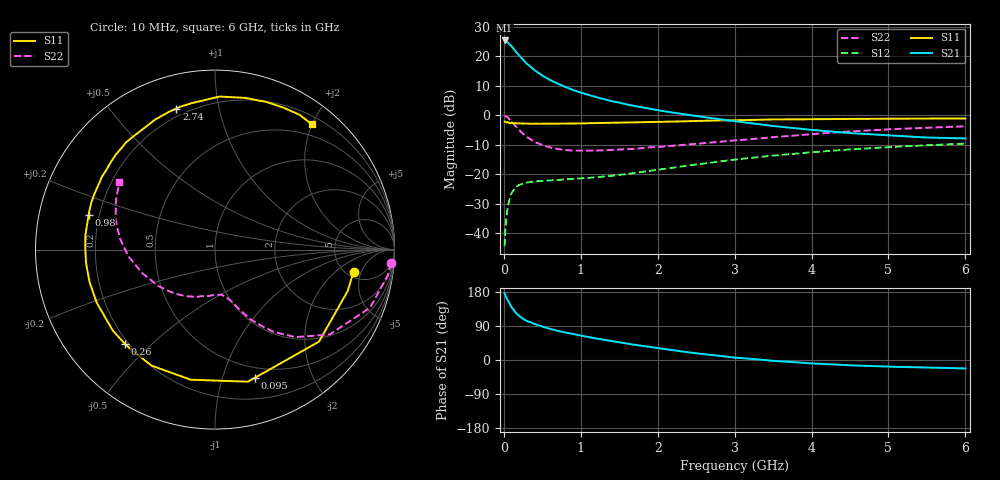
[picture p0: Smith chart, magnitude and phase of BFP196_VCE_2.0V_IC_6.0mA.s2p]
! Infineon Technologies  Discrete & RF Semiconductors
! BFP196
! VCE = 2.0 V,  IC = 6.0mA
! Common Emitter S-Parameters:  Jan 2016
# GHz  S  MA  R  50
!  f  S11  S21  S12  S22
! GHz  MAG  ANG  MAG  ANG  MAG  ANG  MAG  ANG
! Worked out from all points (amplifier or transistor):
!   210 points, 10 MHz to 6 GHz, reference 50 ohm
!   highest |S21| = 25.3 dB at 10 MHz (marker M1)
!   |S21| within 3 dB of that: start of sweep to 131.4 MHz
!   unconditionally stable (mu >= 1): 1.053 GHz to 3.376 GHz
!   at 185 MHz: K = 0.22, MSG = 22.3 dB, |S12| = -23.8 dB
!   at 1.52 GHz: K = 1.19, MAG = 9.5 dB, |S12| = -20.1 dB
!   at 6 GHz: K = 1.00, MSG = 0.9 dB, |S12| = -9.6 dB
!   S11 on the Smith chart (normalised r, x): 10 MHz: 5.82, -3.66; 95 MHz: 0.40, -1.28; 260 MHz: 0.19, -0.41; 980 MHz: 0.16, +0.13; 2.74 GHz: 0.16, +0.75; 6 GHz: 0.32, +1.99
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0.01  0.782 -9.0  18.5 176.3  0.0061 86.9  0.9843 -4.4
0.02  0.7742 -17.4  18.17 170.4  0.0119 81.9  0.9728 -8.5
0.05  0.7738 -41.5  17.24 157.5  0.0279 69.6  0.923 -20.5
0.095  0.7476 -72.6  14.98 141.3  0.0464 55.4  0.8044 -34.7
0.1  0.7584 -76.0  14.82 139.2  0.0486 54.5  0.7948 -36.5
0.15  0.7375 -100.6  12.23 125.4  0.06 43.4  0.6623 -47.4
0.2  0.7365 -118.6  10.26 115.9  0.0664 36.9  0.5621 -54.6
0.24  0.7272 -129.2  8.94 110.1  0.0694 32.9  0.5001 -58.4
0.26  0.7266 -133.8  8.387 107.4  0.0707 31.4  0.4739 -60.2
0.3  0.7263 -141.6  7.45 102.9  0.0729 29.2  0.4305 -63.4
0.4  0.7225 -155.8  5.799 94.7  0.0759 25.9  0.3552 -68.2
0.5  0.722 -165.5  4.695 88.0  0.0775 24.3  0.3128 -71.4
0.7  0.7229 179.3  3.432 76.8  0.0802 24.6  0.2694 -77.3
0.98  0.7304 164.5  2.471 65.2  0.0853 27.2  0.2523 -84.7
1.02  0.7328 162.6  2.378 63.6  0.086 27.6  0.2523 -85.8
1.4  0.7495 147.2  1.741 50.0  0.0945 32.5  0.2602 -97.0
2.02  0.7775 126.1  1.21 30.9  0.1207 38.6  0.2922 -116.6
2.74  0.815 105.3  0.88 12.4  0.1617 38.3  0.3501 -139.5
3.1  0.8292 96.9  0.768 4.8  0.184 35.7  0.3839 -150.8
4.1  0.8622 77.2  0.553 -10.0  0.2423 25.8  0.4916 -177.9
5.1  0.879 62.9  0.449 -18.1  0.2938 13.8  0.5857 161.0
6  0.8821 52.4  0.406 -22.3  0.3323 2.5  0.6517 144.8
